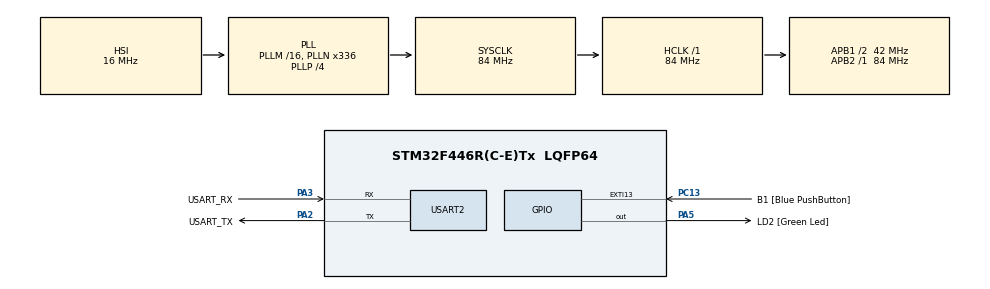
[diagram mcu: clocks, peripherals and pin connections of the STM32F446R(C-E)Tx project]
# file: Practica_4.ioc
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Mcu.Family=STM32F4
Mcu.Name=STM32F446R(C-E)Tx
Mcu.Package=LQFP64
NVIC.PriorityGroup=NVIC_PRIORITYGROUP_0
PA13.GPIO_Label=TMS
PA13.Mode=Serial_Wire
PA13.Signal=SYS_JTMS-SWDIO
PA14.GPIO_Label=TCK
PA14.Mode=Serial_Wire
PA14.Signal=SYS_JTCK-SWCLK
PA2.GPIO_Label=USART_TX
PA2.Mode=Asynchronous
PA2.Signal=USART2_TX
PA3.GPIO_Label=USART_RX
PA3.Mode=Asynchronous
PA3.Signal=USART2_RX
PA5.GPIO_Label=LD2 [Green Led]
PA5.Signal=GPIO_Output
PB3.GPIO_Label=SWO
PB3.Signal=SYS_JTDO-SWO
PC13.GPIO_Label=B1 [Blue PushButton]
PC13.GPIO_ModeDefaultEXTI=GPIO_MODE_IT_FALLING
PC13.Signal=GPXTI13
PC14-OSC32_IN.Mode=LSE-External-Oscillator
PC14-OSC32_IN.Signal=RCC_OSC32_IN
PC15-OSC32_OUT.Mode=LSE-External-Oscillator
PC15-OSC32_OUT.Signal=RCC_OSC32_OUT
PH0-OSC_IN.Mode=HSE-External-Oscillator
PH0-OSC_IN.Signal=RCC_OSC_IN
PH1-OSC_OUT.Mode=HSE-External-Oscillator
PH1-OSC_OUT.Signal=RCC_OSC_OUT
ProjectManager.HeapSize=0x200
ProjectManager.StackSize=0x400
ProjectManager.TargetToolchain=STM32CubeIDE
RCC.48MHZClocksFreq_Value=84000000
RCC.AHBFreq_Value=84000000
RCC.APB1CLKDivider=RCC_HCLK_DIV2
RCC.APB1Freq_Value=42000000
RCC.APB1TimFreq_Value=84000000
RCC.APB2Freq_Value=84000000
RCC.APB2TimFreq_Value=84000000
RCC.CortexFreq_Value=84000000
RCC.FLatency-AdvancedSettings=FLASH_LATENCY_2
RCC.HCLKFreq_Value=84000000
RCC.HSE_VALUE=8000000
RCC.HSI_VALUE=16000000
RCC.PLLN=336
RCC.PLLP=RCC_PLLP_DIV4
RCC.SYSCLKFreq_VALUE=84000000
RCC.SYSCLKSource=RCC_SYSCLKSOURCE_PLLCLK
RCC.USBFreq_Value=168000000
RCC.VCOOutputFreq_Value=336000000
USART2.VirtualMode=VM_ASYNC
board=NUCLEO-F446RE

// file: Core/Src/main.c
/* USER CODE BEGIN Header */
/**
  ******************************************************************************
  * @file           : main.c
  * @brief          : Main program body
  ******************************************************************************
  * @attention
  *
  * Copyright (c) 2025 STMicroelectronics.
  * All rights reserved.
  *
  * This software is licensed under terms that can be found in the LICENSE file
  * in the root directory of this software component.
  * If no LICENSE file comes with this software, it is provided AS-IS.
  *
  ******************************************************************************
  */
/* USER CODE END Header */
#include "main.h"

/* USER CODE BEGIN Includes */
#include "API_delay.h"			// Delay no bloqueante
#include "API_debounce.h"		// Antirrebote por software
#include "API_swo.h"			// Para imprimir en consola por SWO

/* USER CODE END Includes */

UART_HandleTypeDef huart2;

/* USER CODE BEGIN PV */
static delay_t ledDelay;								// Manejo de delay no bloqueante
static const uint32_t TIEMPOS[] = {100,500};			// Arreglo de periodos
static uint32_t index = 0;								// Indice del arreglo de tiempos
static bool_t ledState = false;							// Estado inicial del LED

/* USER CODE END PV */

void SystemClock_Config(void);
static void MX_GPIO_Init(void);
static void MX_USART2_UART_Init(void);

int main(void)
{

  /* MCU Configuration--------------------------------------------------------*/

  /* Reset of all peripherals, Initializes the Flash interface and the Systick. */
  HAL_Init();

  /* Configure the system clock */
  SystemClock_Config();

  /* Initialize all configured peripherals */
  MX_GPIO_Init();
  MX_USART2_UART_Init();
  /* USER CODE BEGIN 2 */

  debounceFSM_init(); 									// Inicializo la FSM
  delayInit(&ledDelay,TIEMPOS[index]/2);					// Inicia dutty. /2 porque TIEMPOS es periodo
  HAL_GPIO_WritePin(LD2_GPIO_Port, LD2_Pin, ledState);	// LED inicia apagado

  /* USER CODE END 2 */

  /* Infinite loop */
  /* USER CODE BEGIN WHILE */
  while (1)
  {
	  debounceFSM_update();

	  if(delayRead(&ledDelay))									// Se cumplió el periodo
	  {
		  ledState = !ledState;
		  HAL_GPIO_WritePin(LD2_GPIO_Port, LD2_Pin, ledState);	// Cambio eL estado del LED
	  }

	  if(readKey())												// Se detecto pulsación
	  {
		  index++;												// Incrementa índice de TIEMPOS
		  if(index >= (sizeof(TIEMPOS)/sizeof(TIEMPOS[0])))		// Verifica desborde
		  {
			  index = 0;
		  }
		  delayInit(&ledDelay,TIEMPOS[index]/2);				// Restablece dutty
		  delayRead(&ledDelay);									// Inicia retardo
	  }
    /* USER CODE END WHILE */

  }
}

void SystemClock_Config(void)
{
  RCC_OscInitTypeDef RCC_OscInitStruct = {0};
  RCC_ClkInitTypeDef RCC_ClkInitStruct = {0};

  /** Configure the main internal regulator output voltage
  */
  __HAL_RCC_PWR_CLK_ENABLE();
  __HAL_PWR_VOLTAGESCALING_CONFIG(PWR_REGULATOR_VOLTAGE_SCALE3);

  /** Initializes the RCC Oscillators according to the specified parameters
  * in the RCC_OscInitTypeDef structure.
  */
  RCC_OscInitStruct.OscillatorType = RCC_OSCILLATORTYPE_HSI;
  RCC_OscInitStruct.HSIState = RCC_HSI_ON;
  RCC_OscInitStruct.HSICalibrationValue = RCC_HSICALIBRATION_DEFAULT;
  RCC_OscInitStruct.PLL.PLLState = RCC_PLL_ON;
  RCC_OscInitStruct.PLL.PLLSource = RCC_PLLSOURCE_HSI;
  RCC_OscInitStruct.PLL.PLLM = 16;
  RCC_OscInitStruct.PLL.PLLN = 336;
  RCC_OscInitStruct.PLL.PLLP = RCC_PLLP_DIV4;
  RCC_OscInitStruct.PLL.PLLQ = 2;
  RCC_OscInitStruct.PLL.PLLR = 2;
  if (HAL_RCC_OscConfig(&RCC_OscInitStruct) != HAL_OK)
  {
    Error_Handler();
  }

  /** Initializes the CPU, AHB and APB buses clocks
  */
  RCC_ClkInitStruct.ClockType = RCC_CLOCKTYPE_HCLK|RCC_CLOCKTYPE_SYSCLK
                              |RCC_CLOCKTYPE_PCLK1|RCC_CLOCKTYPE_PCLK2;
  RCC_ClkInitStruct.SYSCLKSource = RCC_SYSCLKSOURCE_PLLCLK;
  RCC_ClkInitStruct.AHBCLKDivider = RCC_SYSCLK_DIV1;
  RCC_ClkInitStruct.APB1CLKDivider = RCC_HCLK_DIV2;
  RCC_ClkInitStruct.APB2CLKDivider = RCC_HCLK_DIV1;

  if (HAL_RCC_ClockConfig(&RCC_ClkInitStruct, FLASH_LATENCY_2) != HAL_OK)
  {
    Error_Handler();
  }
}

static void MX_USART2_UART_Init(void)
{

  huart2.Instance = USART2;
  huart2.Init.BaudRate = 115200;
  huart2.Init.WordLength = UART_WORDLENGTH_8B;
  huart2.Init.StopBits = UART_STOPBITS_1;
  huart2.Init.Parity = UART_PARITY_NONE;
  huart2.Init.Mode = UART_MODE_TX_RX;
  huart2.Init.HwFlowCtl = UART_HWCONTROL_NONE;
  huart2.Init.OverSampling = UART_OVERSAMPLING_16;
  if (HAL_UART_Init(&huart2) != HAL_OK)
  {
    Error_Handler();
  }

}

static void MX_GPIO_Init(void)
{
  GPIO_InitTypeDef GPIO_InitStruct = {0};

  /* GPIO Ports Clock Enable */
  __HAL_RCC_GPIOC_CLK_ENABLE();
  __HAL_RCC_GPIOH_CLK_ENABLE();
  __HAL_RCC_GPIOA_CLK_ENABLE();
  __HAL_RCC_GPIOB_CLK_ENABLE();

  /*Configure GPIO pin Output Level */
  HAL_GPIO_WritePin(LD2_GPIO_Port, LD2_Pin, GPIO_PIN_RESET);

  /*Configure GPIO pin : B1_Pin */
  GPIO_InitStruct.Pin = B1_Pin;
  GPIO_InitStruct.Mode = GPIO_MODE_IT_FALLING;
  GPIO_InitStruct.Pull = GPIO_NOPULL;
  HAL_GPIO_Init(B1_GPIO_Port, &GPIO_InitStruct);

  /*Configure GPIO pin : LD2_Pin */
  GPIO_InitStruct.Pin = LD2_Pin;
  GPIO_InitStruct.Mode = GPIO_MODE_OUTPUT_PP;
  GPIO_InitStruct.Pull = GPIO_NOPULL;
  GPIO_InitStruct.Speed = GPIO_SPEED_FREQ_LOW;
  HAL_GPIO_Init(LD2_GPIO_Port, &GPIO_InitStruct);

}

void Error_Handler(void)
{
  __disable_irq();
  while (1)
  {
  }
}
